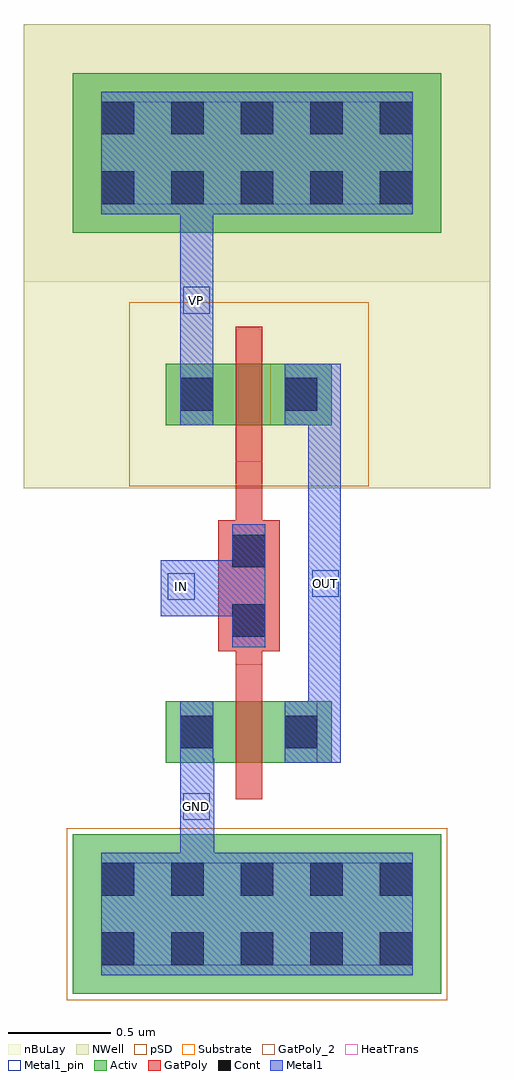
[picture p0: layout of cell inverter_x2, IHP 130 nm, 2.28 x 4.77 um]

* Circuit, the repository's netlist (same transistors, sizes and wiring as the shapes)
** sch_path: /foss/designs/CHIP-PLL/divider/inverter_x2.sch
.subckt inverter_x2 IN VP OUT GND
*.ipin IN
*.iopin VP
*.opin OUT
*.iopin GND
M1 OUT IN GND GND sg13_lv_nmos w=0.3u l=0.13u ng=1
M2 OUT IN VP VP sg13_lv_pmos w=0.3u l=0.13u ng=1
.ends

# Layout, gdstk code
import gdstk
lib = gdstk.Library(unit=1e-6, precision=1e-09)
def R(c, l, rs):  # rectangles x0, y0, x1, y1
    for r in rs: c.add(gdstk.rectangle(r[:2], r[2:], *l))
def A(c, l, x, y, w, h, nx, ny, dx, dy):  # array of equal rectangles
    R(c, l, [(x+i*dx, y+j*dy, x+i*dx+w, y+j*dy+h) for i in range(nx) for j in range(ny)])
Activ = (1, 0)
GatPoly = (5, 0)
GatPoly_2 = (5, 2)
Cont = (6, 0)
Metal1 = (8, 0)
Metal1_pin = (8, 2)
pSD = (14, 0)
NWell = (31, 0)
nBuLay = (32, 0)
Substrate = (40, 0)
HeatTrans = (51, 0)

via = lib.new_cell('Via')
R(via, GatPoly, [(-0.15,-0.32,0.15,0.32)])
R(via, Cont, [(-0.08,-0.25,0.08,-0.09), (-0.08,0.09,0.08,0.25)])
R(via, Metal1, [(-0.08,-0.3,0.08,0.3)])

nmos = lib.new_cell('nmos')
R(nmos, Activ, [(0,0,0.81,0.3), (0,0,0.3,0.3), (0.51,0,0.81,0.3)])
R(nmos, GatPoly, [(0.34,-0.18,0.47,0.48)])
R(nmos, GatPoly_2, [(0.34,-0.18,0.47,0.48)])
R(nmos, Cont, [(0.07,0.07,0.23,0.23), (0.58,0.07,0.74,0.23)])
R(nmos, Metal1, [(0.07,0,0.23,0.3), (0.58,0,0.74,0.3)])
R(nmos, Metal1_pin, [(0.07,0,0.23,0.3), (0.58,0,0.74,0.3)])
R(nmos, HeatTrans, [(0.34,-0.18,0.47,0.48)])
nmos.add(gdstk.Label('nmos', (0.405,0.15), layer=63, texttype=0))
nmos.add(gdstk.Label('nmos', (0.405,0.15), layer=51, texttype=0))

pmos = lib.new_cell('pmos')
R(pmos, Activ, [(0,0,0.81,0.3), (0,0,0.3,0.3), (0.51,0,0.81,0.3)])
R(pmos, GatPoly, [(0.34,-0.18,0.47,0.48), (0.34,-0.18,0.47,0.48)])
R(pmos, Cont, [(0.07,0.07,0.23,0.23), (0.58,0.07,0.74,0.23)])
R(pmos, Metal1, [(0.07,0,0.23,0.3), (0.07,0,0.23,0.3), (0.58,0,0.74,0.3), (0.58,0,0.74,0.3)])
R(pmos, pSD, [(-0.18,-0.3,0.99,0.6)])
R(pmos, NWell, [(-0.31,-0.31,1.12,0.61)])
R(pmos, Substrate, [(0.51,0,0.81,0.3)])
R(pmos, HeatTrans, [(0.34,-0.18,0.47,0.48)])
pmos.add(gdstk.Label('pmos', (0.405,0.15), layer=63, texttype=0))
pmos.add(gdstk.Label('pmos', (0.405,0.15), layer=51, texttype=0))

inverter_x2 = lib.new_cell('inverter_x2')
A(inverter_x2, Activ, -1.06, -2.47, 0.78, 0.78, 4, 2, 0.34, 3.72)
R(inverter_x2, GatPoly, [(-0.265,-0.935,-0.135,-0.735), (-0.265,-0.155,-0.135,0.205)])
R(inverter_x2, Cont, [(-0.92,-2.33,-0.76,-2.17), (-0.58,-2.33,-0.42,-2.17), (-0.58,-2.33,-0.42,-2.17), (-0.24,-2.33,-0.08,-2.17), (-0.24,-2.33,-0.08,-2.17), (0.1,-2.33,0.26,-2.17), (0.1,-2.33,0.26,-2.17), (0.44,-2.33,0.6,-2.17), (-0.92,-1.99,-0.76,-1.83), (-0.58,-1.99,-0.42,-1.83), (-0.58,-1.99,-0.42,-1.83), (-0.24,-1.99,-0.08,-1.83), (-0.24,-1.99,-0.08,-1.83), (0.1,-1.99,0.26,-1.83), (0.1,-1.99,0.26,-1.83), (0.44,-1.99,0.6,-1.83), (-0.92,1.39,-0.76,1.55), (-0.58,1.39,-0.42,1.55), (-0.58,1.39,-0.42,1.55), (-0.24,1.39,-0.08,1.55), (-0.24,1.39,-0.08,1.55), (0.1,1.39,0.26,1.55), (0.1,1.39,0.26,1.55), (0.44,1.39,0.6,1.55), (-0.92,1.73,-0.76,1.89), (-0.58,1.73,-0.42,1.89), (-0.58,1.73,-0.42,1.89), (-0.24,1.73,-0.08,1.89), (-0.24,1.73,-0.08,1.89), (0.1,1.73,0.26,1.89), (0.1,1.73,0.26,1.89), (0.44,1.73,0.6,1.89)])
A(inverter_x2, Metal1, -0.92, -2.38, 0.5, 0.6, 4, 2, 0.34, 3.72)
R(inverter_x2, Metal1, [(-0.535,-1.885,-0.37,-1.32), (0.09,-1.34,0.25,-1.32), (0.09,-1.32,0.25,0.59), (-0.63,-0.625,-0.28,-0.35), (0.135,0.575,0.25,0.61), (-0.535,0.59,-0.375,1.58)])
A(inverter_x2, Metal1_pin, -0.92, -2.33, 0.5, 0.5, 4, 2, 0.34, 3.72)
R(inverter_x2, Metal1_pin, [(-0.52,-1.62,-0.39,-1.49), (-0.595,-0.545,-0.465,-0.415), (0.11,-0.53,0.24,-0.4), (-0.52,0.855,-0.39,0.985)])
A(inverter_x2, pSD, -1.09, -2.5, 0.84, 0.84, 4, 1, 0.34, 0)
A(inverter_x2, NWell, -1.3, 1.01, 1.26, 1.26, 4, 1, 0.34, 0)
R(inverter_x2, NWell, [(-1.3,0,0.755,2.27), (0.755,0,0.98,2.27)])
A(inverter_x2, nBuLay, -1.3, 1.01, 1.26, 1.26, 4, 1, 0.34, 0)
inverter_x2.add(gdstk.Reference(via, (-0.2,-0.475)))
inverter_x2.add(gdstk.Reference(nmos, (-0.605,-1.34)))
inverter_x2.add(gdstk.Reference(pmos, (-0.605,0.31)))
inverter_x2.add(gdstk.Label('OUT', (0.175,-0.465), layer=8, texttype=25))
inverter_x2.add(gdstk.Label('GND', (-0.455,-1.555), layer=8, texttype=25))
inverter_x2.add(gdstk.Label('VP', (-0.455,0.92), layer=8, texttype=25))
inverter_x2.add(gdstk.Label('IN', (-0.53,-0.48), layer=8, texttype=25))

lib.write_gds('inverter_x2.gds')
